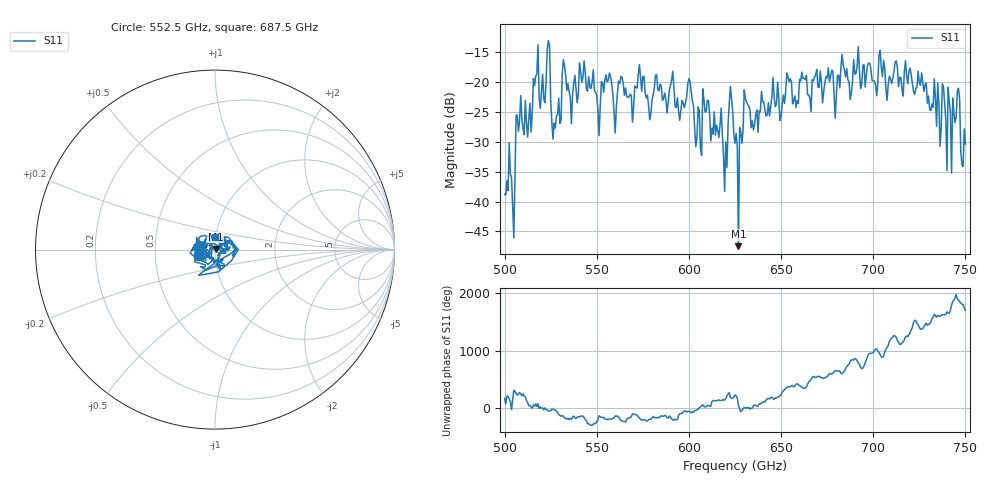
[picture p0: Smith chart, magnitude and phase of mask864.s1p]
!Created with skrf (http://scikit-rf.org).
# GHz S MA R 50.0
!freq magS11 angS11
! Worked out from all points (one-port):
!   401 points, 500 GHz to 750 GHz, reference 50 ohm
!   lowest |S11| = -47.5 dB at 626.9 GHz (marker M1), VSWR 1.01, Z = 50.3 + j0.317 ohm
!   |S11| at or under -10 dB: start of sweep to end of sweep
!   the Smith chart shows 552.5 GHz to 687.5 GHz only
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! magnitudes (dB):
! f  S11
! 500 GHz  -38.8
! 504.4 GHz  -40.8
! 507.5 GHz  -28.3
! 513.8 GHz  -23.5
! 516.9 GHz  -19.1
! 520.6 GHz  -18.7
! 523.8 GHz  -13.1
! 526.9 GHz  -26.9
! 531.2 GHz  -18.8
! 550.6 GHz  -24.6
! 556.2 GHz  -19.7
! 560 GHz  -28.5
! 562.5 GHz  -20.2
! 593.8 GHz  -22.6
! 600.6 GHz  -20.0
! 605.6 GHz  -24.8
! 608.8 GHz  -25.0
! 619.4 GHz  -38.3
! 622.5 GHz  -20.7
! 625 GHz  -30.3
! 626.9 GHz  -47.5
! 631.2 GHz  -23.3
! 656.2 GHz  -23.7
! 687.5 GHz  -22.9
! 718.8 GHz  -20.3
! 741.2 GHz  -23.3
! 745.6 GHz  -21.5
! 750 GHz  -30.4
